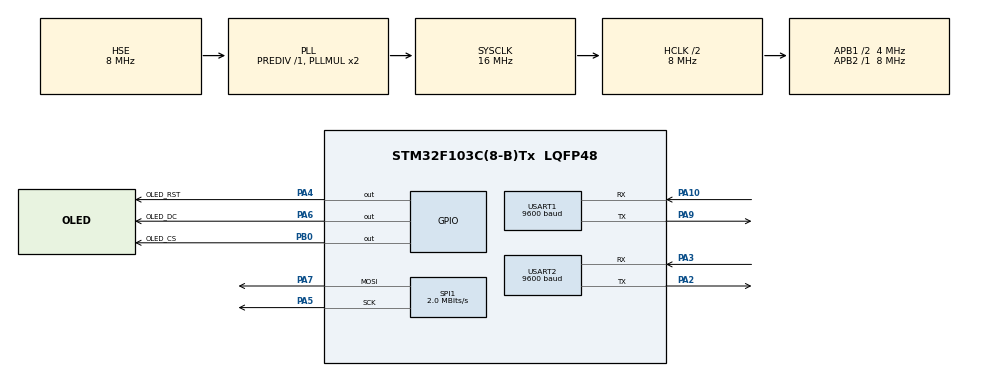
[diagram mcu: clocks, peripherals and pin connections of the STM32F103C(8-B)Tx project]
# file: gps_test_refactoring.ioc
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Mcu.Family=STM32F1
Mcu.Name=STM32F103C(8-B)Tx
Mcu.Package=LQFP48
NVIC.PriorityGroup=NVIC_PRIORITYGROUP_4
NVIC.TIM1_UP_IRQn=true\:0\:0\:false\:true\:true\:2\:true\:true\:true
NVIC.USART2_IRQn=true\:0\:0\:false\:true\:true\:1\:true\:true\:true
PA10.Mode=Asynchronous
PA10.Signal=USART1_RX
PA13.Mode=Serial_Wire
PA13.Signal=SYS_JTMS-SWDIO
PA14.Mode=Serial_Wire
PA14.Signal=SYS_JTCK-SWCLK
PA2.Mode=Asynchronous
PA2.Signal=USART2_TX
PA3.Mode=Asynchronous
PA3.Signal=USART2_RX
PA4.GPIO_Label=OLED_RST
PA4.GPIO_PuPd=GPIO_PULLUP
PA4.GPIO_Speed=GPIO_SPEED_FREQ_HIGH
PA4.PinState=GPIO_PIN_SET
PA4.Signal=GPIO_Output
PA5.Mode=TX_Only_Simplex_Unidirect_Master
PA5.Signal=SPI1_SCK
PA6.GPIO_Label=OLED_DC
PA6.GPIO_PuPd=GPIO_PULLUP
PA6.GPIO_Speed=GPIO_SPEED_FREQ_HIGH
PA6.PinState=GPIO_PIN_SET
PA6.Signal=GPIO_Output
PA7.Mode=TX_Only_Simplex_Unidirect_Master
PA7.Signal=SPI1_MOSI
PA9.Mode=Asynchronous
PA9.Signal=USART1_TX
PB0.GPIO_Label=OLED_CS
PB0.GPIO_PuPd=GPIO_PULLUP
PB0.GPIO_Speed=GPIO_SPEED_FREQ_HIGH
PB0.PinState=GPIO_PIN_SET
PB0.Signal=GPIO_Output
PD0-OSC_IN.Mode=HSE-External-Oscillator
PD0-OSC_IN.Signal=RCC_OSC_IN
PD1-OSC_OUT.Mode=HSE-External-Oscillator
PD1-OSC_OUT.Signal=RCC_OSC_OUT
ProjectManager.HeapSize=0x200
ProjectManager.StackSize=0x400
ProjectManager.TargetToolchain=STM32CubeIDE
RCC.AHBCLKDivider=RCC_SYSCLK_DIV2
RCC.AHBFreq_Value=8000000
RCC.APB1CLKDivider=RCC_HCLK_DIV2
RCC.APB1Freq_Value=4000000
RCC.APB1TimFreq_Value=8000000
RCC.APB2Freq_Value=8000000
RCC.APB2TimFreq_Value=8000000
RCC.HCLKFreq_Value=8000000
RCC.PLLSourceVirtual=RCC_PLLSOURCE_HSE
RCC.SYSCLKFreq_VALUE=16000000
RCC.SYSCLKSource=RCC_SYSCLKSOURCE_PLLCLK
RCC.USBFreq_Value=16000000
SPI1.BaudRatePrescaler=SPI_BAUDRATEPRESCALER_4
SPI1.CalculateBaudRate=2.0 MBits/s
SPI1.Direction=SPI_DIRECTION_2LINES
SPI1.Mode=SPI_MODE_MASTER
SPI1.VirtualType=VM_MASTER
TIM1.Channel-Output\ Compare1\ No\ Output=TIM_CHANNEL_1
TIM1.Period=15999
TIM1.Prescaler=29999
USART1.BaudRate=9600
USART1.VirtualMode=VM_ASYNC
USART2.BaudRate=9600
USART2.VirtualMode=VM_ASYNC
VP_TIM1_VS_ClockSourceINT.Mode=Internal
VP_TIM1_VS_no_output1.Mode=Output Compare1 No Output
board=custom

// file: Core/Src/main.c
/* USER CODE BEGIN Header */
/**
 ******************************************************************************
 * @file           : main.c
 * @brief          : Main program body
 ******************************************************************************
 * @attention
 *
 * Copyright (c) 2023 STMicroelectronics.
 * All rights reserved.
 *
 * This software is licensed under terms that can be found in the LICENSE file
 * in the root directory of this software component.
 * If no LICENSE file comes with this software, it is provided AS-IS.
 *
 ******************************************************************************
 */
/* USER CODE END Header */
#include "main.h"

/* USER CODE BEGIN Includes */
#include "stdio.h"
#include "stdlib.h"
#include "string.h"
#include "uart.h"
#include "u8g2.h"
#include "math.h"
#define pi 3.14159265358979323846

/* USER CODE END Includes */

/* USER CODE BEGIN PD */
#define OLED
/* USER CODE END PD */

SPI_HandleTypeDef hspi1;

TIM_HandleTypeDef htim1;

UART_HandleTypeDef huart1;
UART_HandleTypeDef huart2;

/* USER CODE BEGIN PV */
extern ring_buffer_t uart_rx;

volatile int btnFlag = 0;
volatile int timeFlag = 0;
/* USER CODE END PV */

void SystemClock_Config(void);
static void MX_GPIO_Init(void);
static void MX_USART1_UART_Init(void);
static void MX_USART2_UART_Init(void);
static void MX_SPI1_Init(void);
static void MX_TIM1_Init(void);
static void MX_NVIC_Init(void);

/* USER CODE BEGIN 0 */

int __io_putchar(int ch) {
	(void) HAL_UART_Transmit(&huart1, (uint8_t*) &ch, 1, 100);
	return ch;
}

double deg2rad(double deg) {
	return (deg * pi / 180);
}

double rad2deg(double rad) {
	return (rad * 180 / pi);
}

double calc_distance(double lat1, double lon1, double lat2, double lon2) {

	double radius = 6371.0;

	if ((lat1 == lat2) && (lon1 == lon2)) {
		return 0;
	} else {

		double dLat = deg2rad((lat2 - lat1)) / 2.0;
		double dLon = deg2rad((lon2 - lon1)) / 2.0;

		lat1 = deg2rad(lat1);
		lat2 = deg2rad(lat2);

		double a = sin(dLat) * sin(dLat)
				+ sin(dLon) * sin(dLon) * cos(lat1) * cos(lat2);
		double c = 2 * atan2f(sqrtf(a), sqrtf(1 - a));
		double dDistance = radius * c;

		dDistance *= 1000.0;

		return dDistance;
	}
	/*
	 double theta, dist;
	 if ((lat1 == lat2) && (lon1 == lon2)) {
	 return 0;
	 } else {
	 theta = lon1 - lon2;
	 dist = sin(deg2rad(lat1)) * sin(deg2rad(lat2))
	 + cos(deg2rad(lat1)) * cos(deg2rad(lat2)) * cos(deg2rad(theta));
	 dist = acos(dist);
	 dist = rad2deg(dist);
	 dist = dist * 60 * 1.1515;

	 dist = dist * 1.609344;
	 return (dist);
	 }
	 */

}

extern uint8_t u8x8_stm32_gpio_and_delay(u8x8_t *u8x8, uint8_t msg,
		uint8_t arg_int, void *arg_ptr);
extern uint8_t u8x8_byte_stm32_hw_spi(u8x8_t *u8x8, uint8_t msg,
		uint8_t arg_int, void *arg_ptr);

static u8g2_t u8g2;
/* USER CODE END 0 */

int main(void)
{
  /* USER CODE BEGIN 1 */
	static double f_latitude1 = 0.0;
	static double f_longitude1 = 0.0;
	double f_latitude2 = 0.0;
	double f_longitude2 = 0.0;

	double distance = 0.0;
	double total_distance = 0.0;
	static double pre_time = 0.0;
	double f_seconds = 0.0;
	double time_interval = 0.0;
	double speed = 0.0;
	double ground_speed = 0.0;

	char str_buff[32];
	char str_buff2[32];
	char str_buff3[32];
	char str_buff4[32];

	char buff[1024];
	char type[16];
	char time[16];
	char valid[4];
	char latitude[16];
	char NS[4];
	char longitude[16];
	char EW[4];
	char groundSpeed[16];
	//char str8[18];
  /* USER CODE END 1 */

  /* MCU Configuration--------------------------------------------------------*/

  /* Reset of all peripherals, Initializes the Flash interface and the Systick. */
  HAL_Init();

  /* Configure the system clock */
  SystemClock_Config();

  /* Initialize all configured peripherals */
  MX_GPIO_Init();
  MX_USART1_UART_Init();
  MX_USART2_UART_Init();
  MX_SPI1_Init();
  MX_TIM1_Init();

  /* Initialize interrupts */
  MX_NVIC_Init();
  /* USER CODE BEGIN 2 */
	u8g2_Setup_ssd1306_128x64_noname_f(&u8g2, U8G2_R0, u8x8_byte_stm32_hw_spi,
			u8x8_stm32_gpio_and_delay);

	u8g2_InitDisplay(&u8g2);
	u8g2_SetPowerSave(&u8g2, 0);

	//u8g2_SetFont(&u8g2, u8g2_font_5x7_tr);
	//u8g2_SetFont(&u8g2, u8g2_font_6x13_mr);
	u8g2_SetFont(&u8g2, u8g2_font_inb16_mr);

	u8g2_SetDisplayRotation(&u8g2, U8G2_R2);

	/* Enable the UART Error Interrupt: (Frame error, noise error, overrun error) */
	__HAL_UART_ENABLE_IT(&huart2, UART_IT_ERR);
	/* Enable the UART Data Register not empty Interrupt */
	__HAL_UART_ENABLE_IT(&huart2, UART_IT_RXNE);
	rxBufferInit(&uart_rx);

	HAL_TIM_Base_Start_IT(&htim1);
	printf("this is MAIN code, not WHILE\r\n");

	sprintf(str_buff, "Hello :)");
	sprintf(str_buff2, "Push the button,");
	//sprintf(str_buff3, "See your speed.");
	u8g2_FirstPage(&u8g2);
	do {

		u8g2_DrawStr(&u8g2, 2, 15, str_buff);
		u8g2_DrawStr(&u8g2, 2, 35, str_buff2);
		//u8g2_DrawStr(&u8g2, 2, 45, str_buff3);

	} while (u8g2_NextPage(&u8g2));

	memset(str_buff, 0, sizeof(str_buff));
	memset(str_buff2, 0, sizeof(str_buff2));
	memset(str_buff3, 0, sizeof(str_buff3));

  /* USER CODE END 2 */

  /* Infinite loop */
  /* USER CODE BEGIN WHILE */

	while (1) {

//		if (btnFlag == 1) {

		sprintf(str_buff, "%.2f km/h", speed);
		sprintf(str_buff2, "%d m", (int) total_distance);
		//sprintf(str_buff3, "Time interval: %.2f s", time_interval);
		//sprintf(str_buff4, "Gnd Speed: %.3f km/h", ground_speed);
		//	sprintf(str_buff, "Latitude: %.6f", f_latitude2);
		//	sprintf(str_buff3, "Longitude: %.6f", f_longitude2);

		u8g2_FirstPage(&u8g2);
		do {

			u8g2_DrawStr(&u8g2, 5, 21, str_buff);
			u8g2_DrawStr(&u8g2, 20, 42, str_buff2);
			//	u8g2_DrawStr(&u8g2, 2, 45, str_buff3);
			//	u8g2_DrawStr(&u8g2, 2, 60, str_buff4);

		} while (u8g2_NextPage(&u8g2));

		memset(str_buff, 0, sizeof(str_buff));
		memset(str_buff2, 0, sizeof(str_buff2));
		memset(str_buff3, 0, sizeof(str_buff3));
		memset(str_buff4, 0, sizeof(str_buff4));

		int i = 0;
		uint32_t tick = HAL_GetTick();
		while ((HAL_GetTick() - tick) < 1000) {
			if (uart_available(&uart_rx)) {
				int ch = pop(&uart_rx);
				if (ch != -1) {
					buff[i++] = ch;
				}
			}
		}
#ifndef OLED
	HAL_UART_Transmit(&huart1, (uint8_t*) buff, strlen(buff), 500);
#endif

		int k = 0;
		char *ptr;
		ptr = buff;

		while (((*ptr) != 'R') && (k < strlen(buff))) {
			k++;
			ptr++;
		}

		if ((*ptr) == 'R') {

			if ((*(ptr + 1)) == 'M' && (*(ptr + 2)) == 'C') {

				char *ptr2 = type;
				int n2 = 0;
				while ((*ptr) != ',') {
					memcpy(ptr2, ptr, 1);
					ptr2++;
					ptr++;
					n2++;
				}

				memcpy(ptr2, "\0", 1);

#ifndef OLED
			HAL_UART_Transmit(&huart1, (uint8_t*) type, n2 + 1, 500);

			HAL_UART_Transmit(&huart1, (uint8_t*) "\r", 1, 500);
			HAL_UART_Transmit(&huart1, (uint8_t*) "\n", 1, 500);
#endif
				ptr++;

				char *ptr3 = time;

				int n3 = 0;
				while ((*ptr) != ',') {
					memcpy(ptr3, ptr, 1);

					ptr3++;
					ptr++;
					n3++;
				}

				memcpy(ptr3, "\0", 1);

				if (n3 == 9) {
					char hour[5] = { 0, };
					char minute[5] = { 0, };
					char second[10] = { 0, };

					memcpy(hour, time, 2);
					memcpy(&hour[2], "\0", 1);

					memcpy(minute, &time[2], 2);
					memcpy(&minute[2], "\0", 1);

					memcpy(second, &time[4], 5);
					memcpy(&second[5], "\0", 1);

					f_seconds = (atof(hour) * 60.0 * 60.0)
							+ (atof(minute) * 60.0) + (atof(second));

#ifndef OLED
				printf("pre_time : %.2f\r\n", pre_time);

				printf("f_seconds : %.2f\r\n", f_seconds);
#endif

					if (pre_time == 0) {
						time_interval = 0.0;
					} else {
						time_interval = f_seconds - pre_time;
					}

#ifndef OLED
				printf("time_interval : %.2f\r\n", time_interval);
#endif

					pre_time = f_seconds;
				}

#ifndef OLED
			HAL_UART_Transmit(&huart1, (uint8_t*) time, n3 + 1, 500);

			HAL_UART_Transmit(&huart1, (uint8_t*) "\r", 1, 500);
			HAL_UART_Transmit(&huart1, (uint8_t*) "\n", 1, 500);
#endif

				ptr++;

				char *ptr4 = valid;

				int n4 = 0;
				while ((*ptr) != ',') {
					memcpy(ptr4, ptr, 1);
					ptr4++;
					ptr++;
					n4++;
				}

				memcpy(ptr4, "\0", 1);

#ifndef OLED
			HAL_UART_Transmit(&huart1, (uint8_t*) valid, n4 + 1, 500);

			printf("\r\n");
#endif

				ptr++;

				char *ptr5 = latitude;

				int n5 = 0;
				while ((*ptr) != ',') {
					memcpy(ptr5, ptr, 1);

					ptr5++;
					ptr++;
					n5++;
				}

				memcpy(ptr5, "\0", 1);

				if (n5 == 10) {
					double f_latitude = atof(latitude);
					if (f_latitude > 0) {
						int degree_latitude = ((int) f_latitude / 100);

						double minute_latitude = f_latitude
								- ((double) (degree_latitude) * 100.0);
						double minute2degree_latitude = minute_latitude
								/ 60.000;
						f_latitude2 = degree_latitude + minute2degree_latitude;
#ifndef OLED
					printf("latitude: %.7f\r\n", f_latitude2);
#endif
					}
				}

				//HAL_UART_Transmit(&huart1, (uint8_t*)latitude, n5+1, 500);

				ptr++;

				char *ptr6 = NS;

				int n6 = 0;
				while ((*ptr) != ',') {
					memcpy(ptr6, ptr, 1);
					ptr6++;
					ptr++;
					n6++;
				}

				memcpy(ptr6, "\0", 1);

#ifndef OLED
			HAL_UART_Transmit(&huart1, (uint8_t*) NS, n6 + 1, 500);

			printf("\r\n");
#endif

				ptr++;

				char *ptr7 = longitude;

				int n7 = 0;
				while ((*ptr) != ',') {
					memcpy(ptr7, ptr, 1);
					ptr7++;
					ptr++;
					n7++;
				}

				memcpy(ptr7, "\0", 1);

				if (n7 == 11) {
					double f_longitude = atof(longitude);
					if (f_longitude > 0) {
						int degree_longitude = ((int) f_longitude / 100);
						double minute_longitude = f_longitude
								- ((double) (degree_longitude) * 100.0);
						double minute2degree_longitude = minute_longitude
								/ 60.0;
						f_longitude2 = degree_longitude
								+ minute2degree_longitude;

#ifndef OLED
					printf("longitude: %.7f\r\n", f_longitude2);
#endif
					}
				}

				//HAL_UART_Transmit(&huart1, (uint8_t*)longitude, n7+1, 500);

				ptr++;

				char *ptr8 = EW;

				int n8 = 0;
				while ((*ptr) != ',') {
					memcpy(ptr8, ptr, 1);
					ptr8++;
					ptr++;
					n8++;
				}

				memcpy(ptr8, "\0", 1);

#ifndef OLED
			HAL_UART_Transmit(&huart1, (uint8_t*) EW, n8 + 1, 500);

			printf("\r\n");
#endif

				ptr++;

				char *ptr9 = groundSpeed;

				int n9 = 0;
				while ((*ptr) != ',') {
					memcpy(ptr9, ptr, 1);

					ptr9++;
					ptr++;
					n9++;
				}

				memcpy(ptr9, "\0", 1);

				if (n9 == 5) {
					ground_speed = (atof(groundSpeed)) * 1.852;
				}

#ifndef OLED
			HAL_UART_Transmit(&huart1, (uint8_t*) groundSpeed, n9 + 1, 500);

			printf("\r\n");
#endif

				if ((f_latitude1 == 0) && (f_longitude1 == 0)) {
					f_latitude1 = f_latitude2;
					f_longitude1 = f_longitude2;
				}

				if (time_interval >= 0.000 && f_latitude1 > 0) {

					distance = calc_distance(f_latitude1, f_longitude1,
							f_latitude2, f_longitude2);
					if ((distance < 1.4) || (distance > 15.0)) {
					} else {
						total_distance += distance;
					}

#ifndef OLED
				printf("distance : %.7f\r\n", distance);
#endif

					f_latitude1 = f_latitude2;
					f_longitude1 = f_longitude2;
					if (distance == 0) {
						speed = 0.0;
					} else {
						speed = (distance * 0.001 * 3600.0) / time_interval;
					}

				}

#ifndef OLED
			printf("speed : %.7f\r\n", speed);
			printf("ground_speed : %.7f\r\n", ground_speed);
#endif
				if (timeFlag == 1) {
					timeFlag = 0;
					printf("%.2f\n", speed);
				}
			}

			memset(type, 0, sizeof(type));
			memset(time, 0, sizeof(time));
			memset(latitude, 0, sizeof(latitude));
			memset(NS, 0, sizeof(NS));
			memset(longitude, 0, sizeof(longitude));
			memset(EW, 0, sizeof(EW));
			memset(groundSpeed, 0, sizeof(groundSpeed));

			memset(buff, 0, sizeof(buff));

		}
    /* USER CODE END WHILE */

    /* USER CODE BEGIN 3 */
//		}
		/*
		 else if (btnFlag == 0) {
		 sprintf(str_buff, "Hello :)");
		 sprintf(str_buff2, "Push the button,");
		 sprintf(str_buff3, "See your speed.");
		 u8g2_FirstPage(&u8g2);
		 do {

		 u8g2_DrawStr(&u8g2, 2, 15, str_buff);
		 u8g2_DrawStr(&u8g2, 2, 30, str_buff2);
		 u8g2_DrawStr(&u8g2, 2, 45, str_buff3);

		 } while (u8g2_NextPage(&u8g2));

		 memset(str_buff, 0, sizeof(str_buff));
		 memset(str_buff, 0, sizeof(str_buff2));
		 memset(str_buff, 0, sizeof(str_buff3));
		 }
		 */

	}
  /* USER CODE END 3 */
}

void SystemClock_Config(void)
{
  RCC_OscInitTypeDef RCC_OscInitStruct = {0};
  RCC_ClkInitTypeDef RCC_ClkInitStruct = {0};

  /** Initializes the RCC Oscillators according to the specified parameters
  * in the RCC_OscInitTypeDef structure.
  */
  RCC_OscInitStruct.OscillatorType = RCC_OSCILLATORTYPE_HSE;
  RCC_OscInitStruct.HSEState = RCC_HSE_ON;
  RCC_OscInitStruct.HSEPredivValue = RCC_HSE_PREDIV_DIV1;
  RCC_OscInitStruct.HSIState = RCC_HSI_ON;
  RCC_OscInitStruct.PLL.PLLState = RCC_PLL_ON;
  RCC_OscInitStruct.PLL.PLLSource = RCC_PLLSOURCE_HSE;
  RCC_OscInitStruct.PLL.PLLMUL = RCC_PLL_MUL2;
  if (HAL_RCC_OscConfig(&RCC_OscInitStruct) != HAL_OK)
  {
    Error_Handler();
  }

  /** Initializes the CPU, AHB and APB buses clocks
  */
  RCC_ClkInitStruct.ClockType = RCC_CLOCKTYPE_HCLK|RCC_CLOCKTYPE_SYSCLK
                              |RCC_CLOCKTYPE_PCLK1|RCC_CLOCKTYPE_PCLK2;
  RCC_ClkInitStruct.SYSCLKSource = RCC_SYSCLKSOURCE_PLLCLK;
  RCC_ClkInitStruct.AHBCLKDivider = RCC_SYSCLK_DIV2;
  RCC_ClkInitStruct.APB1CLKDivider = RCC_HCLK_DIV2;
  RCC_ClkInitStruct.APB2CLKDivider = RCC_HCLK_DIV1;

  if (HAL_RCC_ClockConfig(&RCC_ClkInitStruct, FLASH_LATENCY_0) != HAL_OK)
  {
    Error_Handler();
  }
}

/**
  * @brief NVIC Configuration.
  * @retval None
  */
static void MX_NVIC_Init(void)
{
  /* USART2_IRQn interrupt configuration */
  HAL_NVIC_SetPriority(USART2_IRQn, 0, 0);
  HAL_NVIC_EnableIRQ(USART2_IRQn);
  /* TIM1_UP_IRQn interrupt configuration */
  HAL_NVIC_SetPriority(TIM1_UP_IRQn, 0, 0);
  HAL_NVIC_EnableIRQ(TIM1_UP_IRQn);
}

static void MX_SPI1_Init(void)
{

  /* SPI1 parameter configuration*/
  hspi1.Instance = SPI1;
  hspi1.Init.Mode = SPI_MODE_MASTER;
  hspi1.Init.Direction = SPI_DIRECTION_2LINES;
  hspi1.Init.DataSize = SPI_DATASIZE_8BIT;
  hspi1.Init.CLKPolarity = SPI_POLARITY_LOW;
  hspi1.Init.CLKPhase = SPI_PHASE_1EDGE;
  hspi1.Init.NSS = SPI_NSS_SOFT;
  hspi1.Init.BaudRatePrescaler = SPI_BAUDRATEPRESCALER_4;
  hspi1.Init.FirstBit = SPI_FIRSTBIT_MSB;
  hspi1.Init.TIMode = SPI_TIMODE_DISABLE;
  hspi1.Init.CRCCalculation = SPI_CRCCALCULATION_DISABLE;
  hspi1.Init.CRCPolynomial = 10;
  if (HAL_SPI_Init(&hspi1) != HAL_OK)
  {
    Error_Handler();
  }

}

static void MX_TIM1_Init(void)
{

  TIM_ClockConfigTypeDef sClockSourceConfig = {0};
  TIM_MasterConfigTypeDef sMasterConfig = {0};
  TIM_OC_InitTypeDef sConfigOC = {0};
  TIM_BreakDeadTimeConfigTypeDef sBreakDeadTimeConfig = {0};

  htim1.Instance = TIM1;
  htim1.Init.Prescaler = 29999;
  htim1.Init.CounterMode = TIM_COUNTERMODE_UP;
  htim1.Init.Period = 15999;
  htim1.Init.ClockDivision = TIM_CLOCKDIVISION_DIV1;
  htim1.Init.RepetitionCounter = 0;
  htim1.Init.AutoReloadPreload = TIM_AUTORELOAD_PRELOAD_DISABLE;
  if (HAL_TIM_Base_Init(&htim1) != HAL_OK)
  {
    Error_Handler();
  }
  sClockSourceConfig.ClockSource = TIM_CLOCKSOURCE_INTERNAL;
  if (HAL_TIM_ConfigClockSource(&htim1, &sClockSourceConfig) != HAL_OK)
  {
    Error_Handler();
  }
  if (HAL_TIM_OC_Init(&htim1) != HAL_OK)
  {
    Error_Handler();
  }
  sMasterConfig.MasterOutputTrigger = TIM_TRGO_RESET;
  sMasterConfig.MasterSlaveMode = TIM_MASTERSLAVEMODE_DISABLE;
  if (HAL_TIMEx_MasterConfigSynchronization(&htim1, &sMasterConfig) != HAL_OK)
  {
    Error_Handler();
  }
  sConfigOC.OCMode = TIM_OCMODE_TIMING;
  sConfigOC.Pulse = 0;
  sConfigOC.OCPolarity = TIM_OCPOLARITY_HIGH;
  sConfigOC.OCNPolarity = TIM_OCNPOLARITY_HIGH;
  sConfigOC.OCFastMode = TIM_OCFAST_DISABLE;
  sConfigOC.OCIdleState = TIM_OCIDLESTATE_RESET;
  sConfigOC.OCNIdleState = TIM_OCNIDLESTATE_RESET;
  if (HAL_TIM_OC_ConfigChannel(&htim1, &sConfigOC, TIM_CHANNEL_1) != HAL_OK)
  {
    Error_Handler();
  }
  sBreakDeadTimeConfig.OffStateRunMode = TIM_OSSR_DISABLE;
  sBreakDeadTimeConfig.OffStateIDLEMode = TIM_OSSI_DISABLE;
  sBreakDeadTimeConfig.LockLevel = TIM_LOCKLEVEL_OFF;
  sBreakDeadTimeConfig.DeadTime = 0;
  sBreakDeadTimeConfig.BreakState = TIM_BREAK_DISABLE;
  sBreakDeadTimeConfig.BreakPolarity = TIM_BREAKPOLARITY_HIGH;
  sBreakDeadTimeConfig.AutomaticOutput = TIM_AUTOMATICOUTPUT_DISABLE;
  if (HAL_TIMEx_ConfigBreakDeadTime(&htim1, &sBreakDeadTimeConfig) != HAL_OK)
  {
    Error_Handler();
  }

}

static void MX_USART1_UART_Init(void)
{

  huart1.Instance = USART1;
  huart1.Init.BaudRate = 9600;
  huart1.Init.WordLength = UART_WORDLENGTH_8B;
  huart1.Init.StopBits = UART_STOPBITS_1;
  huart1.Init.Parity = UART_PARITY_NONE;
  huart1.Init.Mode = UART_MODE_TX_RX;
  huart1.Init.HwFlowCtl = UART_HWCONTROL_NONE;
  huart1.Init.OverSampling = UART_OVERSAMPLING_16;
  if (HAL_UART_Init(&huart1) != HAL_OK)
  {
    Error_Handler();
  }

}

static void MX_USART2_UART_Init(void)
{

  huart2.Instance = USART2;
  huart2.Init.BaudRate = 9600;
  huart2.Init.WordLength = UART_WORDLENGTH_8B;
  huart2.Init.StopBits = UART_STOPBITS_1;
  huart2.Init.Parity = UART_PARITY_NONE;
  huart2.Init.Mode = UART_MODE_TX_RX;
  huart2.Init.HwFlowCtl = UART_HWCONTROL_NONE;
  huart2.Init.OverSampling = UART_OVERSAMPLING_16;
  if (HAL_UART_Init(&huart2) != HAL_OK)
  {
    Error_Handler();
  }

}

static void MX_GPIO_Init(void)
{
  GPIO_InitTypeDef GPIO_InitStruct = {0};

  /* GPIO Ports Clock Enable */
  __HAL_RCC_GPIOD_CLK_ENABLE();
  __HAL_RCC_GPIOA_CLK_ENABLE();
  __HAL_RCC_GPIOB_CLK_ENABLE();

  /*Configure GPIO pin Output Level */
  HAL_GPIO_WritePin(GPIOA, OLED_RST_Pin|OLED_DC_Pin, GPIO_PIN_SET);

  /*Configure GPIO pin Output Level */
  HAL_GPIO_WritePin(OLED_CS_GPIO_Port, OLED_CS_Pin, GPIO_PIN_SET);

  /*Configure GPIO pins : OLED_RST_Pin OLED_DC_Pin */
  GPIO_InitStruct.Pin = OLED_RST_Pin|OLED_DC_Pin;
  GPIO_InitStruct.Mode = GPIO_MODE_OUTPUT_PP;
  GPIO_InitStruct.Pull = GPIO_PULLUP;
  GPIO_InitStruct.Speed = GPIO_SPEED_FREQ_HIGH;
  HAL_GPIO_Init(GPIOA, &GPIO_InitStruct);

  /*Configure GPIO pin : OLED_CS_Pin */
  GPIO_InitStruct.Pin = OLED_CS_Pin;
  GPIO_InitStruct.Mode = GPIO_MODE_OUTPUT_PP;
  GPIO_InitStruct.Pull = GPIO_PULLUP;
  GPIO_InitStruct.Speed = GPIO_SPEED_FREQ_HIGH;
  HAL_GPIO_Init(OLED_CS_GPIO_Port, &GPIO_InitStruct);

}

/* USER CODE BEGIN 4 */

void HAL_TIM_PeriodElapsedCallback(TIM_HandleTypeDef *htim) {
	if (htim->Instance == htim1.Instance) {
		timeFlag = 1;
		HAL_TIM_Base_Start_IT(&htim1);
	}

}
/*
 void HAL_GPIO_EXTI_Callback(uint16_t GPIO_Pin) {
 if (GPIO_Pin == btn0_Pin) {
 if (btnFlag == 0) {
 btnFlag = 1;
 }

 else if (btnFlag == 1) {
 btnFlag = 0;
 }

 }
 }
 */

/* USER CODE END 4 */

void Error_Handler(void)
{
	__disable_irq();
	while (1) {
	}
}
